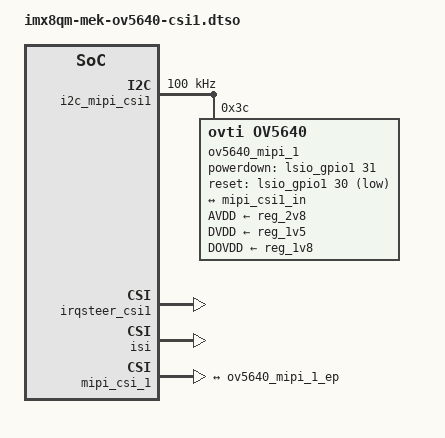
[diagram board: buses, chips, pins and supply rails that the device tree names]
// SPDX-License-Identifier: (GPL-2.0+ OR MIT)
/*
 * Copyright 2025 NXP
 */

/dts-v1/;
/plugin/;

#include <dt-bindings/gpio/gpio.h>
#include <dt-bindings/media/video-interfaces.h>

&i2c_mipi_csi1 {
	#address-cells = <1>;
	#size-cells = <0>;
	clock-frequency = <100000>;
	pinctrl-0 = <&pinctrl_i2c_mipi_csi1>;
	pinctrl-names = "default";
	status = "okay";

	ov5640_mipi_1: camera@3c {
		compatible = "ovti,ov5640";
		reg = <0x3c>;
		clocks = <&xtal24m>;
		clock-names = "xclk";
		pinctrl-0 = <&pinctrl_mipi_csi1>;
		pinctrl-names = "default";
		powerdown-gpios = <&lsio_gpio1 31 GPIO_ACTIVE_HIGH>;
		reset-gpios = <&lsio_gpio1 30 GPIO_ACTIVE_LOW>;
		AVDD-supply = <&reg_2v8>;
		DVDD-supply = <&reg_1v5>;
		DOVDD-supply = <&reg_1v8>;

		port {
			ov5640_mipi_1_ep: endpoint {
				bus-type = <MEDIA_BUS_TYPE_CSI2_DPHY>;
				data-lanes = <1 2>;
				remote-endpoint = <&mipi_csi1_in>;
			};
		};
	};
};

&irqsteer_csi1 {
	status = "okay";
};

&isi {
	status = "okay";
};

&mipi_csi_1 {
	status = "okay";

	ports {
		port@0 {
			mipi_csi1_in: endpoint {
				data-lanes = <1 2>;
				remote-endpoint = <&ov5640_mipi_1_ep>;
			};
		};
	};
};
